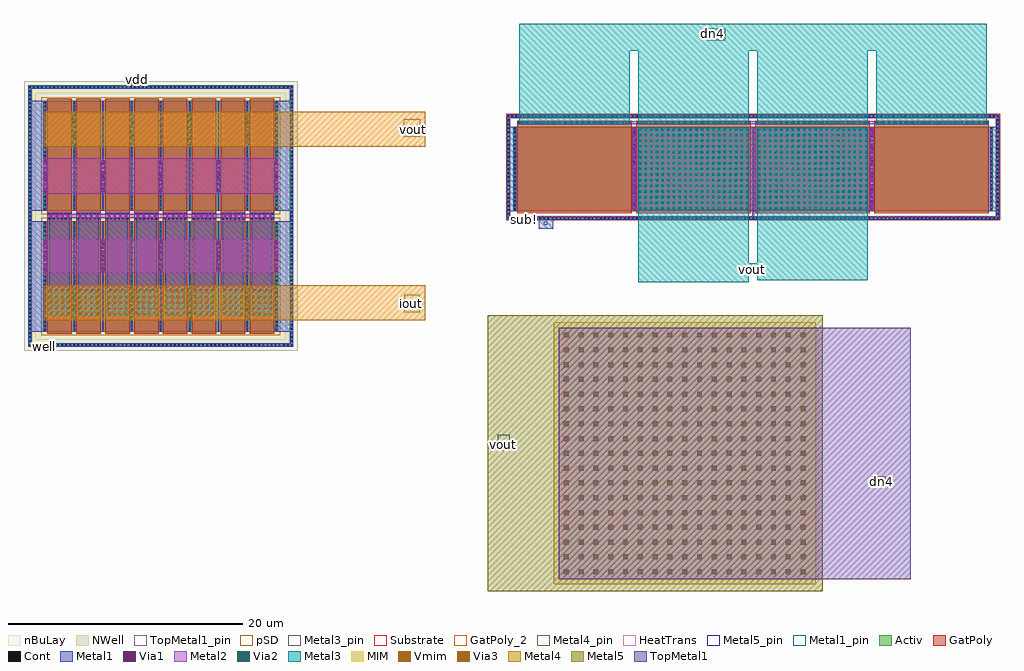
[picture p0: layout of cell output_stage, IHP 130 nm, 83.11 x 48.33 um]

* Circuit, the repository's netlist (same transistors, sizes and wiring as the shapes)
** sch_path: /home/pedersen/projects/IHP-AnalogAcademy/modules/module_1_bandgap_reference/part_3_layout/OTA_layout/output_stage/schematic_mod/output_stage.sch
.subckt output_stage vdd iout vout vss dn4
*.PININFO vdd:B iout:B vout:B vss:B dn4:B
M7 vout iout vdd bulk3 sg13_lv_pmos l=2.08u w=75u ng=8 m=1
M6 vout dn4 vss bulk2 sg13_lv_nmos l=9.75u w=28.8u ng=4 m=1
M9 iout iout vdd bulk3 sg13_lv_pmos l=2.08u w=75u ng=8 m=1
C2 dn4 vout cap_cmim w=22.295e-6 l=22.295e-6 m=1
R2 vss bulk2 ptap1 A = 68.4036e-12, P = 0.24264e-3
R5 vdd bulk3 ntap1 A = 95.5222e-12, P = 0.21292e-3
.ends
.end

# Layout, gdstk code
import gdstk
lib = gdstk.Library(unit=1e-6, precision=1e-09)
def R(c, l, rs):  # rectangles x0, y0, x1, y1
    for r in rs: c.add(gdstk.rectangle(r[:2], r[2:], *l))
def A(c, l, x, y, w, h, nx, ny, dx, dy):  # array of equal rectangles
    R(c, l, [(x+i*dx, y+j*dy, x+i*dx+w, y+j*dy+h) for i in range(nx) for j in range(ny)])
def P(c, l, *ps):  # polygons
    for p in ps: c.add(gdstk.Polygon(p, *l))
Activ = (1, 0)
GatPoly = (5, 0)
GatPoly_2 = (5, 2)
Cont = (6, 0)
Metal1 = (8, 0)
Metal1_pin = (8, 2)
Metal2 = (10, 0)
pSD = (14, 0)
Via1 = (19, 0)
Via2 = (29, 0)
Metal3 = (30, 0)
Metal3_pin = (30, 2)
NWell = (31, 0)
nBuLay = (32, 0)
MIM = (36, 0)
Substrate = (40, 0)
Via3 = (49, 0)
Metal4 = (50, 0)
Metal4_pin = (50, 2)
HeatTrans = (51, 0)
Metal5 = (67, 0)
Metal5_pin = (67, 2)
TopMetal1 = (126, 0)
TopMetal1_pin = (126, 2)
Vmim = (129, 0)

via_stack_5 = lib.new_cell('via_stack$5')
R(via_stack_5, Metal1, [(-0.865,-0.145,0.865,0.145)])
R(via_stack_5, Metal2, [(-0.865,-0.145,0.865,0.145)])
A(via_stack_5, Via1, -0.815, -0.095, 0.19, 0.19, 4, 1, 0.48, 0)

pmos = lib.new_cell('pmos')
A(pmos, Activ, 0, 0, 0.3, 0.3, 9, 1, 2.46, 0)
R(pmos, Activ, [(0,0,19.98,9.375)])
A(pmos, GatPoly, 0.34, -0.18, 2.08, 9.735, 8, 1, 2.46, 0)
R(pmos, GatPoly, [(0.34,-0.18,2.42,9.555)])
A(pmos, Cont, 0.07, 0.07, 0.16, 0.16, 9, 2, 2.46, 0.345)
A(pmos, Cont, 0.07, 0.765, 0.16, 0.16, 9, 4, 2.46, 0.35)
A(pmos, Cont, 0.07, 2.16, 0.16, 0.16, 9, 5, 2.46, 0.35)
A(pmos, Cont, 0.07, 3.905, 0.16, 0.16, 9, 5, 2.46, 0.35)
A(pmos, Cont, 0.07, 5.65, 0.16, 0.16, 9, 5, 2.46, 0.35)
A(pmos, Cont, 0.07, 7.395, 0.16, 0.16, 9, 6, 2.46, 0.35)
A(pmos, Metal1, 2.53, 0, 0.16, 9.375, 8, 1, 2.46, 0)
R(pmos, Metal1, [(0.07,0,0.23,9.375), (0.07,0,0.23,9.375), (2.53,0,2.69,9.375)])
R(pmos, pSD, [(-0.18,-0.3,20.16,9.675)])
R(pmos, NWell, [(-0.31,-0.31,20.29,9.685)])
R(pmos, Substrate, [(19.68,0,19.98,0.3)])
A(pmos, HeatTrans, 0.34, -0.18, 2.08, 9.735, 8, 1, 2.46, 0)
pmos.add(gdstk.Label('pmos', (1.38,4.688), layer=63, texttype=0))
pmos.add(gdstk.Label('pmos', (1.38,4.688), layer=51, texttype=0))
pmos.add(gdstk.Label('pmos', (3.84,4.688), layer=51, texttype=0))
pmos.add(gdstk.Label('pmos', (6.3,4.688), layer=51, texttype=0))
pmos.add(gdstk.Label('pmos', (8.76,4.688), layer=51, texttype=0))
pmos.add(gdstk.Label('pmos', (11.22,4.688), layer=51, texttype=0))
pmos.add(gdstk.Label('pmos', (13.68,4.688), layer=51, texttype=0))
pmos.add(gdstk.Label('pmos', (16.14,4.688), layer=51, texttype=0))
pmos.add(gdstk.Label('pmos', (18.6,4.688), layer=51, texttype=0))

via_stack_1 = lib.new_cell('via_stack$1')
R(via_stack_1, Metal1, [(-0.145,-1.345,0.145,1.345)])
R(via_stack_1, Metal2, [(-0.145,-1.345,0.145,1.345)])
A(via_stack_1, Via1, -0.095, -1.295, 0.19, 0.19, 1, 6, 0, 0.48)

via_stack = lib.new_cell('via_stack')
R(via_stack, Metal1, [(-0.145,-1.345,0.145,1.345)])
R(via_stack, Metal2, [(-0.145,-1.345,0.145,1.345)])
A(via_stack, Via1, -0.095, -1.295, 0.19, 0.19, 1, 6, 0, 0.48)
A(via_stack, Via2, -0.095, -1.295, 0.19, 0.19, 1, 6, 0, 0.48)
R(via_stack, Metal3, [(-0.145,-1.345,0.145,1.345)])
A(via_stack, Via3, -0.095, -1.295, 0.19, 0.19, 1, 6, 0, 0.48)
R(via_stack, Metal4, [(-0.145,-1.345,0.145,1.345)])

via_stack_2 = lib.new_cell('via_stack$2')
R(via_stack_2, Metal1, [(-0.865,-1.105,0.865,1.105)])
R(via_stack_2, Metal2, [(-0.865,-1.105,0.865,1.105)])
A(via_stack_2, Via1, -0.815, -1.055, 0.19, 0.19, 4, 5, 0.48, 0.48)

via_stack_3 = lib.new_cell('via_stack$3')
R(via_stack_3, Metal1, [(-0.865,-1.105,0.865,1.105)])
R(via_stack_3, Metal2, [(-0.865,-1.105,0.865,1.105)])
A(via_stack_3, Via1, -0.815, -1.055, 0.19, 0.19, 4, 5, 0.48, 0.48)
A(via_stack_3, Via2, -0.815, -1.055, 0.19, 0.19, 4, 5, 0.48, 0.48)
R(via_stack_3, Metal3, [(-0.865,-1.105,0.865,1.105)])
A(via_stack_3, Via3, -0.815, -1.055, 0.19, 0.19, 4, 5, 0.48, 0.48)
R(via_stack_3, Metal4, [(-0.865,-1.105,0.865,1.105)])

gring = lib.new_cell('gring')
P(gring, Activ, [(0,0),(0,21.96),(0.31,21.96),(0.31,0.31),(22.29,0.31),(22.29,21.96),(0,21.96),(0,22.27),(22.6,22.27),(22.6,0)])
A(gring, Cont, 1.445, 0.075, 0.16, 0.16, 3, 2, 0.345, 21.96)
A(gring, Cont, 3.845, 0.075, 0.16, 0.16, 3, 2, 0.345, 21.96)
A(gring, Cont, 5.56, 0.075, 0.16, 0.16, 3, 2, 0.345, 21.96)
A(gring, Cont, 7.96, 0.075, 0.16, 0.16, 3, 2, 0.345, 21.96)
A(gring, Cont, 9.675, 0.075, 0.16, 0.16, 3, 2, 0.345, 21.96)
A(gring, Cont, 12.075, 0.075, 0.16, 0.16, 3, 2, 0.345, 21.96)
A(gring, Cont, 13.79, 0.075, 0.16, 0.16, 3, 2, 0.345, 21.96)
A(gring, Cont, 16.19, 0.075, 0.16, 0.16, 3, 2, 0.345, 21.96)
A(gring, Cont, 17.905, 0.075, 0.16, 0.16, 3, 2, 0.345, 21.96)
A(gring, Cont, 20.305, 0.075, 0.16, 0.16, 3, 2, 0.345, 21.96)
A(gring, Cont, 0.075, 0.76, 0.16, 0.16, 1, 3, 0, 0.345)
A(gring, Cont, 22.365, 0.76, 0.16, 0.16, 1, 3, 0, 0.345)
A(gring, Cont, 0.075, 2.475, 0.16, 0.16, 1, 3, 0, 0.345)
A(gring, Cont, 22.365, 2.475, 0.16, 0.16, 1, 3, 0, 0.345)
A(gring, Cont, 0.075, 4.19, 0.16, 0.16, 1, 3, 0, 0.345)
A(gring, Cont, 22.365, 4.19, 0.16, 0.16, 1, 3, 0, 0.345)
A(gring, Cont, 0.075, 5.22, 0.16, 0.16, 1, 3, 0, 0.345)
A(gring, Cont, 22.365, 5.22, 0.16, 0.16, 1, 3, 0, 0.345)
A(gring, Cont, 0.075, 6.25, 0.16, 0.16, 1, 3, 0, 0.345)
A(gring, Cont, 22.365, 6.25, 0.16, 0.16, 1, 3, 0, 0.345)
A(gring, Cont, 0.075, 7.965, 0.16, 0.16, 1, 3, 0, 0.345)
A(gring, Cont, 22.365, 7.965, 0.16, 0.16, 1, 3, 0, 0.345)
A(gring, Cont, 0.075, 9.68, 0.16, 0.16, 1, 3, 0, 0.345)
A(gring, Cont, 22.365, 9.68, 0.16, 0.16, 1, 3, 0, 0.345)
A(gring, Cont, 0.075, 10.71, 0.16, 0.16, 1, 3, 0, 0.345)
A(gring, Cont, 22.365, 10.71, 0.16, 0.16, 1, 3, 0, 0.345)
A(gring, Cont, 0.075, 11.74, 0.16, 0.16, 1, 3, 0, 0.345)
A(gring, Cont, 22.365, 11.74, 0.16, 0.16, 1, 3, 0, 0.345)
A(gring, Cont, 0.075, 13.455, 0.16, 0.16, 1, 3, 0, 0.345)
A(gring, Cont, 22.365, 13.455, 0.16, 0.16, 1, 3, 0, 0.345)
A(gring, Cont, 0.075, 14.485, 0.16, 0.16, 1, 3, 0, 0.345)
A(gring, Cont, 22.365, 14.485, 0.16, 0.16, 1, 3, 0, 0.345)
A(gring, Cont, 0.075, 16.2, 0.16, 0.16, 1, 3, 0, 0.345)
A(gring, Cont, 22.365, 16.2, 0.16, 0.16, 1, 3, 0, 0.345)
A(gring, Cont, 0.075, 17.23, 0.16, 0.16, 1, 3, 0, 0.345)
A(gring, Cont, 22.365, 17.23, 0.16, 0.16, 1, 3, 0, 0.345)
A(gring, Cont, 0.075, 18.945, 0.16, 0.16, 1, 3, 0, 0.345)
A(gring, Cont, 22.365, 18.945, 0.16, 0.16, 1, 3, 0, 0.345)
A(gring, Cont, 0.075, 19.975, 0.16, 0.16, 1, 3, 0, 0.345)
A(gring, Cont, 22.365, 19.975, 0.16, 0.16, 1, 3, 0, 0.345)
R(gring, Cont, [(0.075,0.075,0.235,0.235), (0.075,0.075,0.235,0.235), (0.42,0.075,0.58,0.235), (0.76,0.075,0.92,0.235), (1.105,0.075,1.265,0.235), (2.475,0.075,2.635,0.235), (2.82,0.075,2.98,0.235), (3.16,0.075,3.32,0.235), (3.505,0.075,3.665,0.235), (4.875,0.075,5.035,0.235), (5.22,0.075,5.38,0.235), (6.59,0.075,6.75,0.235), (6.935,0.075,7.095,0.235), (7.275,0.075,7.435,0.235), (7.62,0.075,7.78,0.235), (8.99,0.075,9.15,0.235), (9.335,0.075,9.495,0.235), (10.705,0.075,10.865,0.235), (11.05,0.075,11.21,0.235), (11.39,0.075,11.55,0.235), (11.735,0.075,11.895,0.235), (13.105,0.075,13.265,0.235), (13.45,0.075,13.61,0.235), (14.82,0.075,14.98,0.235), (15.165,0.075,15.325,0.235), (15.505,0.075,15.665,0.235), (15.85,0.075,16.01,0.235), (17.22,0.075,17.38,0.235), (17.565,0.075,17.725,0.235), (18.935,0.075,19.095,0.235), (19.28,0.075,19.44,0.235), (19.62,0.075,19.78,0.235), (19.965,0.075,20.125,0.235), (21.335,0.075,21.495,0.235), (21.68,0.075,21.84,0.235), (22.02,0.075,22.18,0.235), (22.365,0.075,22.525,0.235), (22.365,0.075,22.525,0.235), (0.075,0.42,0.235,0.58), (22.365,0.42,22.525,0.58), (0.075,1.79,0.235,1.95), (22.365,1.79,22.525,1.95), (0.075,2.135,0.235,2.295), (22.365,2.135,22.525,2.295), (0.075,3.505,0.235,3.665), (22.365,3.505,22.525,3.665), (0.075,3.85,0.235,4.01), (22.365,3.85,22.525,4.01), (0.075,7.28,0.235,7.44), (22.365,7.28,22.525,7.44), (0.075,7.625,0.235,7.785), (22.365,7.625,22.525,7.785), (0.075,8.995,0.235,9.155), (22.365,8.995,22.525,9.155), (0.075,9.34,0.235,9.5), (22.365,9.34,22.525,9.5), (0.075,12.77,0.235,12.93), (22.365,12.77,22.525,12.93), (0.075,13.115,0.235,13.275), (22.365,13.115,22.525,13.275), (0.075,15.515,0.235,15.675), (22.365,15.515,22.525,15.675), (0.075,15.86,0.235,16.02), (22.365,15.86,22.525,16.02), (0.075,18.26,0.235,18.42), (22.365,18.26,22.525,18.42), (0.075,18.605,0.235,18.765), (22.365,18.605,22.525,18.765), (0.075,21.005,0.235,21.165), (22.365,21.005,22.525,21.165), (0.075,21.35,0.235,21.51), (22.365,21.35,22.525,21.51), (0.075,21.69,0.235,21.85), (22.365,21.69,22.525,21.85), (0.075,22.035,0.235,22.195), (0.075,22.035,0.235,22.195), (0.42,22.035,0.58,22.195), (0.76,22.035,0.92,22.195), (1.105,22.035,1.265,22.195), (2.475,22.035,2.635,22.195), (2.82,22.035,2.98,22.195), (3.16,22.035,3.32,22.195), (3.505,22.035,3.665,22.195), (4.875,22.035,5.035,22.195), (5.22,22.035,5.38,22.195), (6.59,22.035,6.75,22.195), (6.935,22.035,7.095,22.195), (7.275,22.035,7.435,22.195), (7.62,22.035,7.78,22.195), (8.99,22.035,9.15,22.195), (9.335,22.035,9.495,22.195), (10.705,22.035,10.865,22.195), (11.05,22.035,11.21,22.195), (11.39,22.035,11.55,22.195), (11.735,22.035,11.895,22.195), (13.105,22.035,13.265,22.195), (13.45,22.035,13.61,22.195), (14.82,22.035,14.98,22.195), (15.165,22.035,15.325,22.195), (15.505,22.035,15.665,22.195), (15.85,22.035,16.01,22.195), (17.22,22.035,17.38,22.195), (17.565,22.035,17.725,22.195), (18.935,22.035,19.095,22.195), (19.28,22.035,19.44,22.195), (19.62,22.035,19.78,22.195), (19.965,22.035,20.125,22.195), (21.335,22.035,21.495,22.195), (21.68,22.035,21.84,22.195), (22.02,22.035,22.18,22.195), (22.365,22.035,22.525,22.195), (22.365,22.035,22.525,22.195)])
P(gring, Metal1, [(0.025,0.025),(0.025,21.985),(0.285,21.985),(0.285,0.285),(22.315,0.285),(22.315,21.985),(0.025,21.985),(0.025,22.245),(22.575,22.245),(22.575,0.025)])
R(gring, NWell, [(0,0,22.6,22.27)])

nmos_1 = lib.new_cell('nmos$1')
A(nmos_1, Activ, 0, 0, 0.3, 0.3, 5, 1, 10.13, 0)
R(nmos_1, Activ, [(0,0,40.82,7.2)])
A(nmos_1, GatPoly, 0.34, -0.18, 9.75, 7.56, 4, 1, 10.13, 0)
R(nmos_1, GatPoly_2, [(0.34,-0.18,10.09,7.38)])
A(nmos_1, Cont, 0.07, 0.07, 0.16, 0.16, 5, 21, 10.13, 0.345)
A(nmos_1, Metal1, 0.07, 0, 0.16, 7.2, 5, 1, 10.13, 0)
R(nmos_1, Metal1_pin, [(0.07,0,0.23,7.2), (10.2,0,10.36,7.2)])
A(nmos_1, HeatTrans, 0.34, -0.18, 9.75, 7.56, 4, 1, 10.13, 0)
nmos_1.add(gdstk.Label('nmos', (5.215,3.6), layer=63, texttype=0))
nmos_1.add(gdstk.Label('nmos', (5.215,3.6), layer=51, texttype=0))
nmos_1.add(gdstk.Label('nmos', (15.345,3.6), layer=51, texttype=0))
nmos_1.add(gdstk.Label('nmos', (25.475,3.6), layer=51, texttype=0))
nmos_1.add(gdstk.Label('nmos', (35.605,3.6), layer=51, texttype=0))

via_stack_6 = lib.new_cell('via_stack$6')
R(via_stack_6, Metal1, [(-0.145,-3.505,0.145,3.505)])
R(via_stack_6, Metal2, [(-0.145,-3.505,0.145,3.505)])
A(via_stack_6, Via1, -0.095, -3.455, 0.19, 0.19, 1, 15, 0, 0.48)

via_stack_4 = lib.new_cell('via_stack$4')
R(via_stack_4, Metal2, [(-4.705,-3.505,4.705,3.505)])
A(via_stack_4, Via2, -4.655, -3.455, 0.19, 0.19, 20, 15, 0.48, 0.48)
R(via_stack_4, Metal3, [(-4.705,-3.505,4.705,3.505)])

via_stack_9 = lib.new_cell('via_stack$9')
R(via_stack_9, Metal1, [(-4.705,-0.145,4.705,0.145)])
R(via_stack_9, Metal2, [(-4.705,-0.145,4.705,0.145)])
A(via_stack_9, Via1, -4.655, -0.095, 0.19, 0.19, 20, 1, 0.48, 0)
A(via_stack_9, Via2, -4.655, -0.095, 0.19, 0.19, 20, 1, 0.48, 0)
R(via_stack_9, Metal3, [(-4.705,-0.145,4.705,0.145)])

gring_3 = lib.new_cell('gring$3')
P(gring_3, Activ, [(0.03,0.03),(0.03,8.72),(0.28,8.72),(0.28,0.28),(41.72,0.28),(41.72,8.72),(0.03,8.72),(0.03,8.97),(41.97,8.97),(41.97,0.03)])
A(gring_3, Cont, 0.76, 0.075, 0.16, 0.16, 3, 2, 0.34, 8.69)
A(gring_3, Cont, 1.785, 0.075, 0.16, 0.16, 3, 2, 0.34, 8.69)
A(gring_3, Cont, 2.81, 0.075, 0.16, 0.16, 3, 2, 0.34, 8.69)
A(gring_3, Cont, 3.835, 0.075, 0.16, 0.16, 3, 2, 0.34, 8.69)
A(gring_3, Cont, 5.545, 0.075, 0.16, 0.16, 3, 2, 0.34, 8.69)
A(gring_3, Cont, 6.57, 0.075, 0.16, 0.16, 3, 2, 0.34, 8.69)
A(gring_3, Cont, 7.595, 0.075, 0.16, 0.16, 3, 2, 0.34, 8.69)
A(gring_3, Cont, 8.62, 0.075, 0.16, 0.16, 3, 2, 0.34, 8.69)
A(gring_3, Cont, 9.645, 0.075, 0.16, 0.16, 3, 2, 0.34, 8.69)
A(gring_3, Cont, 10.67, 0.075, 0.16, 0.16, 3, 2, 0.34, 8.69)
A(gring_3, Cont, 11.695, 0.075, 0.16, 0.16, 3, 2, 0.34, 8.69)
A(gring_3, Cont, 12.72, 0.075, 0.16, 0.16, 3, 2, 0.34, 8.69)
A(gring_3, Cont, 13.745, 0.075, 0.16, 0.16, 3, 2, 0.34, 8.69)
A(gring_3, Cont, 14.77, 0.075, 0.16, 0.16, 3, 2, 0.34, 8.69)
A(gring_3, Cont, 16.48, 0.075, 0.16, 0.16, 3, 2, 0.34, 8.69)
A(gring_3, Cont, 17.505, 0.075, 0.16, 0.16, 3, 2, 0.34, 8.69)
A(gring_3, Cont, 18.53, 0.075, 0.16, 0.16, 3, 2, 0.34, 8.69)
A(gring_3, Cont, 19.555, 0.075, 0.16, 0.16, 3, 2, 0.34, 8.69)
A(gring_3, Cont, 20.58, 0.075, 0.16, 0.16, 3, 2, 0.34, 8.69)
A(gring_3, Cont, 21.605, 0.075, 0.16, 0.16, 3, 2, 0.34, 8.69)
A(gring_3, Cont, 22.63, 0.075, 0.16, 0.16, 3, 2, 0.34, 8.69)
A(gring_3, Cont, 23.655, 0.075, 0.16, 0.16, 3, 2, 0.34, 8.69)
A(gring_3, Cont, 24.68, 0.075, 0.16, 0.16, 3, 2, 0.34, 8.69)
A(gring_3, Cont, 26.39, 0.075, 0.16, 0.16, 3, 2, 0.34, 8.69)
A(gring_3, Cont, 27.415, 0.075, 0.16, 0.16, 3, 2, 0.34, 8.69)
A(gring_3, Cont, 28.44, 0.075, 0.16, 0.16, 3, 2, 0.34, 8.69)
A(gring_3, Cont, 29.465, 0.075, 0.16, 0.16, 3, 2, 0.34, 8.69)
A(gring_3, Cont, 30.49, 0.075, 0.16, 0.16, 3, 2, 0.34, 8.69)
A(gring_3, Cont, 31.515, 0.075, 0.16, 0.16, 3, 2, 0.34, 8.69)
A(gring_3, Cont, 32.54, 0.075, 0.16, 0.16, 3, 2, 0.34, 8.69)
A(gring_3, Cont, 33.565, 0.075, 0.16, 0.16, 3, 2, 0.34, 8.69)
A(gring_3, Cont, 34.59, 0.075, 0.16, 0.16, 3, 2, 0.34, 8.69)
A(gring_3, Cont, 35.615, 0.075, 0.16, 0.16, 3, 2, 0.34, 8.69)
A(gring_3, Cont, 37.325, 0.075, 0.16, 0.16, 3, 2, 0.34, 8.69)
A(gring_3, Cont, 38.35, 0.075, 0.16, 0.16, 3, 2, 0.34, 8.69)
A(gring_3, Cont, 39.375, 0.075, 0.16, 0.16, 3, 2, 0.34, 8.69)
A(gring_3, Cont, 40.4, 0.075, 0.16, 0.16, 3, 2, 0.34, 8.69)
R(gring_3, Cont, [(0.075,0.075,0.235,0.235), (0.075,0.075,0.235,0.235), (0.415,0.075,0.575,0.235), (4.86,0.075,5.02,0.235), (5.2,0.075,5.36,0.235), (15.795,0.075,15.955,0.235), (16.135,0.075,16.295,0.235), (25.705,0.075,25.865,0.235), (26.045,0.075,26.205,0.235), (36.64,0.075,36.8,0.235), (36.98,0.075,37.14,0.235), (41.425,0.075,41.585,0.235), (41.765,0.075,41.925,0.235), (41.765,0.075,41.925,0.235), (0.075,0.425,0.235,0.585), (41.765,0.425,41.925,0.585), (0.075,0.77,0.235,0.93), (41.765,0.77,41.925,0.93), (0.075,1.12,0.235,1.28), (41.765,1.12,41.925,1.28), (0.075,1.465,0.235,1.625), (41.765,1.465,41.925,1.625), (0.075,1.815,0.235,1.975), (41.765,1.815,41.925,1.975), (0.075,2.16,0.235,2.32), (41.765,2.16,41.925,2.32), (0.075,2.51,0.235,2.67), (41.765,2.51,41.925,2.67), (0.075,2.855,0.235,3.015), (41.765,2.855,41.925,3.015), (0.075,3.205,0.235,3.365), (41.765,3.205,41.925,3.365), (0.075,3.55,0.235,3.71), (41.765,3.55,41.925,3.71), (0.075,3.9,0.235,4.06), (41.765,3.9,41.925,4.06), (0.075,4.245,0.235,4.405), (41.765,4.245,41.925,4.405), (0.075,4.595,0.235,4.755), (41.765,4.595,41.925,4.755), (0.075,4.94,0.235,5.1), (41.765,4.94,41.925,5.1), (0.075,5.29,0.235,5.45), (41.765,5.29,41.925,5.45), (0.075,5.635,0.235,5.795), (41.765,5.635,41.925,5.795), (0.075,5.985,0.235,6.145), (41.765,5.985,41.925,6.145), (0.075,6.33,0.235,6.49), (41.765,6.33,41.925,6.49), (0.075,6.68,0.235,6.84), (41.765,6.68,41.925,6.84), (0.075,7.025,0.235,7.185), (41.765,7.025,41.925,7.185), (0.075,7.375,0.235,7.535), (41.765,7.375,41.925,7.535), (0.075,7.72,0.235,7.88), (41.765,7.72,41.925,7.88), (0.075,8.07,0.235,8.23), (41.765,8.07,41.925,8.23), (0.075,8.415,0.235,8.575), (41.765,8.415,41.925,8.575), (0.075,8.765,0.235,8.925), (0.075,8.765,0.235,8.925), (0.415,8.765,0.575,8.925), (4.86,8.765,5.02,8.925), (5.2,8.765,5.36,8.925), (15.795,8.765,15.955,8.925), (16.135,8.765,16.295,8.925), (25.705,8.765,25.865,8.925), (26.045,8.765,26.205,8.925), (36.64,8.765,36.8,8.925), (36.98,8.765,37.14,8.925), (41.425,8.765,41.585,8.925), (41.765,8.765,41.925,8.925), (41.765,8.765,41.925,8.925)])
P(gring_3, Metal1, [(0.025,0.025),(0.025,8.715),(0.285,8.715),(0.285,0.285),(41.715,0.285),(41.715,8.715),(0.025,8.715),(0.025,8.975),(41.975,8.975),(41.975,0.025)])
P(gring_3, pSD, [(0,0),(0,8.69),(0.31,8.69),(0.31,0.31),(41.69,0.31),(41.69,8.69),(0,8.69),(0,9),(42,9),(42,0)])

nmos_cdns_736761753850 = lib.new_cell('nmos_CDNS_736761753850')

m2_m1_cdns_736761753850 = lib.new_cell('M2_M1_CDNS_736761753850')

m3_m2_cdns_736761753851 = lib.new_cell('M3_M2_CDNS_736761753851')

m1_gatpoly_cdns_73676175 = lib.new_cell('M1_GatPoly_CDNS_736761753852')

via_stack_7 = lib.new_cell('via_stack$7')

nmos_cdns_736761753850_1 = lib.new_cell('nmos_CDNS_736761753850$1')

m2_m1_cdns_736761753850_ = lib.new_cell('M2_M1_CDNS_736761753850$1')

m3_m2_cdns_736761753851_ = lib.new_cell('M3_M2_CDNS_736761753851$1')

c_m1_gatpoly_cdns_73676175 = lib.new_cell('M1_GatPoly_CDNS_736761753852$1')

via_stack_8 = lib.new_cell('via_stack$8')

cmim = lib.new_cell('cmim')
R(cmim, MIM, [(0,0,22.295,22.295)])
R(cmim, Metal5, [(-0.6,-0.6,22.895,22.895)])
R(cmim, TopMetal1, [(0.435,0.435,21.855,21.855)])
A(cmim, Vmim, 0.855, 0.855, 0.42, 0.42, 17, 17, 1.26, 1.26)

output_stage = lib.new_cell('output_stage')
A(output_stage, GatPoly, 35.77, 21.885, 2.08, 0.18, 8, 2, 2.46, 0.37)
A(output_stage, GatPoly, 75.79, 29.96, 9.75, 0.3, 4, 1, 10.13, 0)
A(output_stage, Cont, 35.88, 21.895, 0.16, 0.16, 6, 2, 0.34, 0.37)
A(output_stage, Cont, 38.34, 21.895, 0.16, 0.16, 6, 2, 0.34, 0.37)
A(output_stage, Cont, 40.8, 21.895, 0.16, 0.16, 6, 2, 0.34, 0.37)
A(output_stage, Cont, 43.26, 21.895, 0.16, 0.16, 6, 2, 0.34, 0.37)
A(output_stage, Cont, 45.72, 21.895, 0.16, 0.16, 6, 2, 0.34, 0.37)
A(output_stage, Cont, 48.18, 21.895, 0.16, 0.16, 6, 2, 0.34, 0.37)
A(output_stage, Cont, 50.64, 21.895, 0.16, 0.16, 6, 2, 0.34, 0.37)
A(output_stage, Cont, 53.1, 21.895, 0.16, 0.16, 6, 2, 0.34, 0.37)
A(output_stage, Cont, 75.875, 30.03, 0.16, 0.16, 28, 1, 0.35, 0)
A(output_stage, Cont, 86.005, 30.03, 0.16, 0.16, 28, 1, 0.35, 0)
A(output_stage, Cont, 96.135, 30.03, 0.16, 0.16, 28, 1, 0.35, 0)
A(output_stage, Cont, 106.265, 30.03, 0.16, 0.16, 28, 1, 0.35, 0)
A(output_stage, Metal1, 35.945, 15.9, 1.73, 6.53, 3, 1, 2.46, 0)
A(output_stage, Metal1, 43.33, 15.9, 1.73, 6.53, 3, 1, 2.46, 0)
A(output_stage, Metal1, 35.775, 21.89, 2.07, 0.17, 8, 2, 2.46, 0.37)
A(output_stage, Metal1, 35.775, 22.06, 2.07, 0.2, 6, 1, 2.46, 0)
A(output_stage, Metal1, 75.795, 29.965, 9.74, 0.29, 4, 1, 10.13, 0)
R(output_stage, Metal1, [(34.405,12.33,35.5,21.705), (55.34,12.33,56.435,21.705), (50.705,15.9,52.435,22.43), (53.165,15.9,54.895,22.43), (77.595,21.1,78.86,21.855), (48.095,22.06,50.165,22.26), (50.535,22.06,52.605,22.26), (50.555,22.06,52.625,22.26), (52.995,22.06,55.065,22.26), (95.78,22.115,95.94,22.58), (75.145,22.58,75.52,29.78), (116.2,22.58,116.575,29.78), (34.405,22.615,35.5,31.99), (55.34,22.615,56.435,31.99), (42.905,33.27,44.17,34.025)])
R(output_stage, Metal1_pin, [(78.02,21.44,78.345,21.695), (43.33,33.61,43.655,33.865)])
R(output_stage, Metal2, [(35.5,17.285,55.34,20.235), (35.96,22.025,53.19,22.315), (85.875,22.675,105.845,29.685), (35.5,24.08,55.34,27.075), (85.355,29.965,115.745,30.255)])
R(output_stage, pSD, [(74.835,21.805,74.86,30.83), (74.86,21.805,116.86,21.83), (116.86,21.805,116.885,30.855), (75.17,22.14,75.195,30.495), (75.195,22.14,116.525,22.165), (116.525,22.14,116.55,30.52), (75.17,30.495,116.525,30.52), (74.835,30.83,116.86,30.855)])
A(output_stage, Metal3, 75.945, 30.255, 9.41, 8.285, 4, 1, 10.13, 0)
R(output_stage, Metal3, [(86.09,16.505,95.5,22.675), (96.22,16.71,105.63,22.675), (95.5,17.19,96.22,18.135), (75.945,36.25,115.745,38.54)])
R(output_stage, Metal3_pin, [(95.665,17.46,96.01,17.86), (91.93,37.145,93.47,38.11)])
R(output_stage, nBuLay, [(33.775,10.68,34.775,32.64), (34.775,10.68,57.07,11.68), (56.065,11.68,57.065,33.64), (33.775,32.64,56.065,33.64)])
R(output_stage, Metal4, [(35.5,13.305,67.945,16.285), (35.5,28.08,67.935,31.06)])
R(output_stage, Metal4_pin, [(66.14,13.97,67.465,15.455), (66.105,28.93,67.535,30.4)])
R(output_stage, Metal5, [(73.275,-9.79,78.29,13.705)])
R(output_stage, Metal5_pin, [(74.125,2.22,75.12,3.56)])
R(output_stage, TopMetal1, [(100.745,-8.755,109.29,12.665)])
R(output_stage, TopMetal1_pin, [(106.375,-0.72,107.145,-0.015)])
output_stage.add(gdstk.FlexPath([(85.775,30.675),(116.705,30.675),(116.705,21.985),(75.015,21.985),(75.015,30.675),(85.775,30.675)], 0.36, ends="flush", simple_path=True, layer=40, datatype=0))  # Substrate
output_stage.add(gdstk.Reference(via_stack_5, (36.825,22.17)))
output_stage.add(gdstk.Reference(pmos, (35.43,22.615)))
output_stage.add(gdstk.Reference(via_stack_5, (39.275,22.17)))
output_stage.add(gdstk.Reference(via_stack_1, (55.26,18.76)))
output_stage.add(gdstk.Reference(via_stack_1, (50.34,18.76)))
output_stage.add(gdstk.Reference(via_stack_1, (45.42,18.76)))
output_stage.add(gdstk.Reference(via_stack_1, (35.58,18.76)))
output_stage.add(gdstk.Reference(via_stack_1, (40.5,18.76)))
output_stage.add(gdstk.Reference(via_stack_1, (55.26,25.555)))
output_stage.add(gdstk.Reference(via_stack_1, (50.34,25.555)))
output_stage.add(gdstk.Reference(via_stack_1, (45.42,25.555)))
output_stage.add(gdstk.Reference(via_stack_1, (35.58,25.555)))
output_stage.add(gdstk.Reference(via_stack_1, (40.5,25.555)))
output_stage.add(gdstk.Reference(via_stack, (52.8,14.78)))
output_stage.add(gdstk.Reference(via_stack, (52.8,29.555)))
output_stage.add(gdstk.Reference(via_stack, (47.88,29.555)))
output_stage.add(gdstk.Reference(via_stack, (38.04,29.555)))
output_stage.add(gdstk.Reference(via_stack, (42.96,29.555)))
output_stage.add(gdstk.Reference(via_stack, (47.88,14.78)))
output_stage.add(gdstk.Reference(via_stack, (38.04,14.78)))
output_stage.add(gdstk.Reference(via_stack, (42.96,14.78)))
output_stage.add(gdstk.Reference(via_stack_2, (36.81,14.795)))
output_stage.add(gdstk.Reference(via_stack_2, (41.73,14.795)))
output_stage.add(gdstk.Reference(via_stack_2, (39.27,14.795)))
output_stage.add(gdstk.Reference(via_stack_3, (44.195,14.795)))
output_stage.add(gdstk.Reference(via_stack_3, (49.115,14.795)))
output_stage.add(gdstk.Reference(via_stack_3, (46.655,14.795)))
output_stage.add(gdstk.Reference(via_stack_3, (39.27,14.795)))
output_stage.add(gdstk.Reference(via_stack_3, (41.73,14.795)))
output_stage.add(gdstk.Reference(via_stack_3, (36.81,14.795)))
output_stage.add(gdstk.Reference(via_stack_3, (54.03,14.795)))
output_stage.add(gdstk.Reference(via_stack_3, (51.57,14.795)))
output_stage.add(gdstk.Reference(gring, (34.12,11.025)))
output_stage.add(gdstk.Reference(via_stack_5, (41.745,22.17)))
output_stage.add(gdstk.Reference(via_stack_5, (44.195,22.17)))
output_stage.add(gdstk.Reference(via_stack_5, (46.685,22.17)))
output_stage.add(gdstk.Reference(via_stack_5, (49.135,22.17)))
output_stage.add(gdstk.Reference(via_stack_5, (51.605,22.17)))
output_stage.add(gdstk.Reference(via_stack_5, (54.055,22.17)))
output_stage.add(gdstk.Reference(pmos, (35.43,12.33)))
output_stage.add(gdstk.Reference(nmos_1, (75.45,22.58)))
output_stage.add(gdstk.Reference(via_stack_6, (85.73,26.18)))
output_stage.add(gdstk.Reference(via_stack_6, (105.99,26.18)))
output_stage.add(gdstk.Reference(via_stack_4, (90.795,26.18)))
output_stage.add(gdstk.Reference(via_stack_4, (100.925,26.18)))
output_stage.add(gdstk.Reference(via_stack_9, (80.65,30.11)))
output_stage.add(gdstk.Reference(via_stack_9, (90.78,30.11)))
output_stage.add(gdstk.Reference(via_stack_9, (100.91,30.11)))
output_stage.add(gdstk.Reference(via_stack_9, (111.04,30.11)))
output_stage.add(gdstk.Reference(gring_3, (74.86,21.83)))
output_stage.add(gdstk.Reference(nmos_cdns_736761753850, (0.5,-5.86)))
output_stage.add(gdstk.Reference(nmos_cdns_736761753850, (0.5,-4.66)))
output_stage.add(gdstk.Reference(m2_m1_cdns_736761753850, (5.715,-3.85)))
output_stage.add(gdstk.Reference(m3_m2_cdns_736761753851, (5.715,-3.85)))
output_stage.add(gdstk.Reference(m1_gatpoly_cdns_73676175, (5.72,-4.92)))
output_stage.add(gdstk.Reference(via_stack_7, (5.555,-4.93)))
output_stage.add(gdstk.Reference(nmos_cdns_736761753850_1, (0.5,-5.86)))
output_stage.add(gdstk.Reference(nmos_cdns_736761753850_1, (0.5,-4.66)))
output_stage.add(gdstk.Reference(m2_m1_cdns_736761753850_, (5.715,-3.85)))
output_stage.add(gdstk.Reference(m3_m2_cdns_736761753851_, (5.715,-3.85)))
output_stage.add(gdstk.Reference(c_m1_gatpoly_cdns_73676175, (5.72,-4.92)))
output_stage.add(gdstk.Reference(via_stack_8, (5.555,-4.93)))
output_stage.add(gdstk.Reference(cmim, (78.89,-9.19)))
output_stage.add(gdstk.Label('sub!', (76.405,21.865), layer=63, texttype=0))
output_stage.add(gdstk.Label('well', (35.55,11.05), layer=63, texttype=0))
output_stage.add(gdstk.Label('vout', (95.79,17.645), layer=30, texttype=25))
output_stage.add(gdstk.Label('dn4', (92.41,37.675), layer=30, texttype=25))
output_stage.add(gdstk.Label('vdd', (43.475,33.75), layer=8, texttype=25))
output_stage.add(gdstk.Label('vss', (78.165,21.58), layer=8, texttype=25))
output_stage.add(gdstk.Label('vout', (66.92,29.545), layer=50, texttype=25))
output_stage.add(gdstk.Label('iout', (66.76,14.69), layer=50, texttype=25))
output_stage.add(gdstk.Label('dn4', (106.78,-0.405), layer=126, texttype=25))
output_stage.add(gdstk.Label('vout', (74.615,2.725), layer=67, texttype=25))

lib.write_gds('output_stage.gds')
